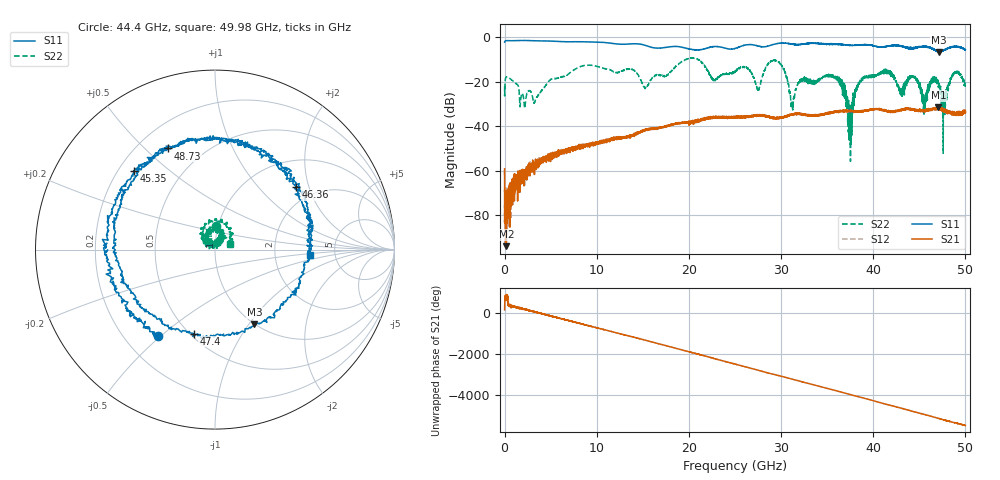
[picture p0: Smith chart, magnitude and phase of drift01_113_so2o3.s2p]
!Created with skrf (http://scikit-rf.org).
# Hz S RI R 50.0
!freq ReS11 ImS11 ReS21 ImS21 ReS12 ImS12 ReS22 ImS22
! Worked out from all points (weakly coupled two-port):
!   10001 points, 300 kHz to 50 GHz, reference 50 ohm
!   highest |S21| = -31.45 dB at 47.08 GHz (marker M1); lowest = -93.9 dB at 190.3 MHz (marker M2)
!   lowest |S11| = -6.6 dB at 47.11 GHz (marker M3), VSWR 2.77, Z = 49.8 - j53.1 ohm
!   |S11| at or under -10 dB: nowhere
!   |S22| runs from -55.8 to -9.2 dB; largest |S21 - S12| = 0.0037
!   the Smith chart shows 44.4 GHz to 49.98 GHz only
!   S11 on the Smith chart (normalised r, x): 44.4 GHz: 0.34, -0.49; 45.35 GHz: 0.26, +0.38; 46.36 GHz: 1.59, +1.64; 47.4 GHz: 0.52, -0.64; 48.73 GHz: 0.32, +0.59; 49.98 GHz: 3.26, -0.25
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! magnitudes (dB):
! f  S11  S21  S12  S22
! 300 kHz  -2.1  -59.2  -59.7  -22.0
! 190.3 MHz  -1.4  -93.9  -71.9  -17.7
! 3.29 GHz  -1.5  -57.2  -57.8  -28.8
! 8.335 GHz  -1.9  -48.6  -49.6  -12.9
! 16.67 GHz  -4.8  -40.8  -40.7  -16.7
! 25 GHz  -5.0  -35.5  -35.9  -15.4
! 29.58 GHz  -2.8  -36.3  -36.5  -10.6
! 31.25 GHz  -3.1  -35.0  -34.6  -32.2
! 33.34 GHz  -2.6  -35.5  -34.9  -19.9
! 36.08 GHz  -3.1  -33.1  -33.3  -18.3
! 37.47 GHz  -3.6  -33.1  -32.9  -34.3
! 38.64 GHz  -3.3  -33.3  -33.3  -19.8
! 41.67 GHz  -3.9  -32.8  -33.2  -16.0
! 44.4 GHz  -4.8  -32.3  -32.5  -17.5
! 45.35 GHz  -4.0  -33.3  -33.1  -28.4
! 46.36 GHz  -4.9  -32.2  -32.3  -20.0
! 47.08 GHz  -6.3  -31.4  -31.9  -22.0
! 47.11 GHz  -6.6  -31.7  -31.9  -20.9
! 47.4 GHz  -6.3  -32.4  -32.3  -31.7
! 48.73 GHz  -4.1  -34.5  -33.9  -16.2
! 49.98 GHz  -5.5  -33.7  -33.9  -21.1
! 50 GHz  -5.5  -33.7  -33.5  -21.5
